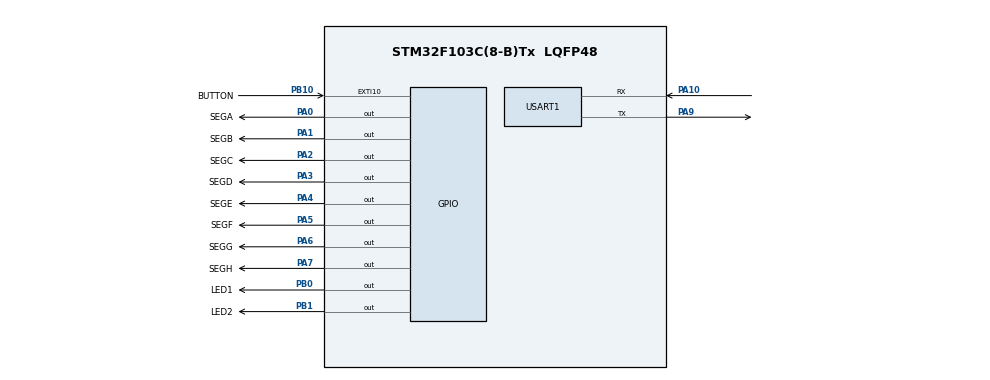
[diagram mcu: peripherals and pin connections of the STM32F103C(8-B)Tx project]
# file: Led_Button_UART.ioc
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Dma.Request0=USART1_RX
Dma.USART1_RX.0.Direction=DMA_PERIPH_TO_MEMORY
Dma.USART1_RX.0.Instance=DMA1_Channel5
Dma.USART1_RX.0.MemDataAlignment=DMA_MDATAALIGN_BYTE
Dma.USART1_RX.0.MemInc=DMA_MINC_ENABLE
Dma.USART1_RX.0.Mode=DMA_NORMAL
Dma.USART1_RX.0.PeriphDataAlignment=DMA_PDATAALIGN_BYTE
Dma.USART1_RX.0.PeriphInc=DMA_PINC_DISABLE
Dma.USART1_RX.0.Priority=DMA_PRIORITY_LOW
Mcu.Family=STM32F1
Mcu.Name=STM32F103C(8-B)Tx
Mcu.Package=LQFP48
NVIC.DMA1_Channel5_IRQn=true\:0\:0\:false\:false\:true\:false\:true\:true
NVIC.EXTI15_10_IRQn=true\:0\:0\:false\:false\:true\:true\:true\:true
NVIC.PriorityGroup=NVIC_PRIORITYGROUP_4
NVIC.USART1_IRQn=true\:0\:0\:false\:false\:true\:true\:true\:true
PA0-WKUP.GPIO_Label=SEGA
PA0-WKUP.PinState=GPIO_PIN_RESET
PA0-WKUP.Signal=GPIO_Output
PA1.GPIO_Label=SEGB
PA1.PinState=GPIO_PIN_RESET
PA1.Signal=GPIO_Output
PA10.Mode=Asynchronous
PA10.Signal=USART1_RX
PA13.Mode=Serial_Wire
PA13.Signal=SYS_JTMS-SWDIO
PA14.Mode=Serial_Wire
PA14.Signal=SYS_JTCK-SWCLK
PA2.GPIO_Label=SEGC
PA2.PinState=GPIO_PIN_RESET
PA2.Signal=GPIO_Output
PA3.GPIO_Label=SEGD
PA3.PinState=GPIO_PIN_RESET
PA3.Signal=GPIO_Output
PA4.GPIO_Label=SEGE
PA4.PinState=GPIO_PIN_RESET
PA4.Signal=GPIO_Output
PA5.GPIO_Label=SEGF
PA5.PinState=GPIO_PIN_RESET
PA5.Signal=GPIO_Output
PA6.GPIO_Label=SEGG
PA6.PinState=GPIO_PIN_RESET
PA6.Signal=GPIO_Output
PA7.GPIO_Label=SEGH
PA7.PinState=GPIO_PIN_RESET
PA7.Signal=GPIO_Output
PA9.Mode=Asynchronous
PA9.Signal=USART1_TX
PB0.GPIO_Label=LED1
PB0.PinState=GPIO_PIN_RESET
PB0.Signal=GPIO_Output
PB1.GPIO_Label=LED2
PB1.PinState=GPIO_PIN_RESET
PB1.Signal=GPIO_Output
PB10.GPIO_Label=BUTTON
PB10.GPIO_PuPd=GPIO_PULLDOWN
PB10.Signal=GPXTI10
PC14-OSC32_IN.Mode=LSE-External-Oscillator
PC14-OSC32_IN.Signal=RCC_OSC32_IN
PC15-OSC32_OUT.Mode=LSE-External-Oscillator
PC15-OSC32_OUT.Signal=RCC_OSC32_OUT
PD0-OSC_IN.Mode=HSE-External-Oscillator
PD0-OSC_IN.Signal=RCC_OSC_IN
PD1-OSC_OUT.Mode=HSE-External-Oscillator
PD1-OSC_OUT.Signal=RCC_OSC_OUT
ProjectManager.HeapSize=0x200
ProjectManager.StackSize=0x400
ProjectManager.TargetToolchain=MDK-ARM V5.32
RCC.APB1Freq_Value=8000000
RCC.APB2Freq_Value=8000000
USART1.VirtualMode=VM_ASYNC
board=custom

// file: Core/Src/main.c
#include "main.h"

// các thu vien bo sung
#include <string.h>
#include <stdio.h>
#include <stdlib.h>

// Bien toa cuc
UART_HandleTypeDef huart1;        // Cau hinh UART1
DMA_HandleTypeDef hdma_usart1_rx; // cau hinh DMA cho UART 1 RX

/* USER CODE BEGIN PV */
uint8_t RxBuff[8];							// Bo dem nhan du lieu (8 byte)
uint8_t TxBuff[8] = "START..."; // buffer truyen di
uint16_t rxLength = 0;					// Do dai du lieu nhan duoc
uint32_t count = 0;							// Bo dem

volatile uint8_t running = 1;		// Luu tru trang thai cua bo dem (1: chay, 0: dung )
volatile uint8_t counter = 0;		// Bo dem hien thi
uint8_t segment_map[] = {   		// Mang anh xa LED 7 doan
    0xC0, // 0
    0xF9, // 1
    0xA4, // 2
    0xB0, // 3
    0x99, // 4
    0x92, // 5
    0x82, // 6
    0xF8, // 7
    0x80, // 8
    0x90  // 9
};

/* USER CODE END PV */

void SystemClock_Config(void);
static void MX_GPIO_Init(void);
static void MX_DMA_Init(void);
static void MX_USART1_UART_Init(void);

void HAL_UART_RxCpltCallback(UART_HandleTypeDef *huart)
{
	// Kiem tra nhan du lieu tu UART1
  UNUSED(huart);
	if(huart->Instance == USART1)
	{
		// Lay so byte nhan duoc qua DMA.
		// Sao chép du lieu tu RxBuff sang TxBuff.
		// Phan hoi qua UART bang HAL_UART_Transmit.
		// Kiem tra neu chuoi nhan duoc là "Start" thì bat dem (running = 1) hoac "Stop" thì dung dem (running = 0).
		// Xóa bo dem RxBuff và kích hoat lai DMA de nhan du lieu moi.
		uint16_t receivedBytes = 8 - __HAL_DMA_GET_COUNTER(huart->hdmarx);

		for(int i = 0; i < receivedBytes; i++){
			TxBuff[i] = RxBuff[i];
		}

		HAL_UART_Transmit(&huart1, TxBuff, receivedBytes, HAL_MAX_DELAY);

		// Xu ly lenh "Start" va "stop"
		if (strncmp((char*)&TxBuff, "Start", 5) == 0)
		{
				running = 1; // Bat dau dem
		}
		else if (strncmp((char*)&TxBuff, "Stop", 4) == 0)
		{
				running = 0; // dung dem
		}

		memset(RxBuff, 0, 8); // Xóa bo dem nhan

		HAL_UART_Receive_DMA(&huart1, RxBuff, 8);	// Kich hoat lai nhan DMA
	}
}

// Callback khi nút nhan duoc nha
void HAL_GPIO_EXTI_Callback(uint16_t GPIO_Pin)
{
    if (GPIO_Pin == BUTTON_Pin)
    {
        counter = 1; // Dat lai bo dem
    }
}

// hien thi so len LED 7 doan
void display_number(uint8_t number)
{
    uint8_t tens = number / 10;		// Hang chuc
    uint8_t units = number % 10;	// Hang don vi

		// hien thi hang chuc
    HAL_GPIO_WritePin(LED1_GPIO_Port, LED1_Pin, GPIO_PIN_RESET);
    HAL_GPIO_WritePin(LED2_GPIO_Port, LED2_Pin, GPIO_PIN_SET);
    GPIOA->ODR = (GPIOA->ODR & 0xFF00) | segment_map[tens];
    HAL_Delay(2);

		// Hien thi hang don vi
		HAL_GPIO_WritePin(LED1_GPIO_Port, LED1_Pin, GPIO_PIN_SET);
    HAL_GPIO_WritePin(LED2_GPIO_Port, LED2_Pin, GPIO_PIN_RESET);
    GPIOA->ODR = (GPIOA->ODR & 0xFF00) | segment_map[units];
    HAL_Delay(2);
}
/* USER CODE END 0 */

int main(void){
  HAL_Init();
	// Clock he thong GBIO, DMA, UART
  SystemClock_Config();

  MX_GPIO_Init();
  MX_DMA_Init();
  MX_USART1_UART_Init();
  // Gui thong bao he thong qua UART va kich hoat du lieu DMA
	HAL_UART_Transmit(&huart1, TxBuff, sizeof(TxBuff),100);
	HAL_UART_Receive_DMA(&huart1, RxBuff, 8);

  while (1){

		for (int i = 0; i < 200; i++)
		{
				display_number(counter);
		}
		if (running)
		{

				counter++;
				if (counter > 99)
						counter = 0;
		}

  }
	return 0;

}

// Cau hinh clock
void SystemClock_Config(void)
{
  RCC_OscInitTypeDef RCC_OscInitStruct = {0};
  RCC_ClkInitTypeDef RCC_ClkInitStruct = {0};

	//cau hinh dao dong RCC theo cac tham so duoc chi dinh

  RCC_OscInitStruct.OscillatorType = RCC_OSCILLATORTYPE_HSI;
  RCC_OscInitStruct.HSIState = RCC_HSI_ON;
  RCC_OscInitStruct.HSICalibrationValue = RCC_HSICALIBRATION_DEFAULT;
  RCC_OscInitStruct.PLL.PLLState = RCC_PLL_NONE;
  if (HAL_RCC_OscConfig(&RCC_OscInitStruct) != HAL_OK)
  {
    Error_Handler();
  }
	// Khoi dong clock CPU, bus AHB va APB
  RCC_ClkInitStruct.ClockType = RCC_CLOCKTYPE_HCLK|RCC_CLOCKTYPE_SYSCLK
                              |RCC_CLOCKTYPE_PCLK1|RCC_CLOCKTYPE_PCLK2;
  RCC_ClkInitStruct.SYSCLKSource = RCC_SYSCLKSOURCE_HSI;
  RCC_ClkInitStruct.AHBCLKDivider = RCC_SYSCLK_DIV1;
  RCC_ClkInitStruct.APB1CLKDivider = RCC_HCLK_DIV1;
  RCC_ClkInitStruct.APB2CLKDivider = RCC_HCLK_DIV1;

  if (HAL_RCC_ClockConfig(&RCC_ClkInitStruct, FLASH_LATENCY_0) != HAL_OK)
  {
    Error_Handler();
  }
}

static void MX_USART1_UART_Init(void){
	// Cau hinh UART1
  huart1.Instance = USART1;
  huart1.Init.BaudRate = 115200;
  huart1.Init.WordLength = UART_WORDLENGTH_8B;
  huart1.Init.StopBits = UART_STOPBITS_1;
  huart1.Init.Parity = UART_PARITY_NONE;
  huart1.Init.Mode = UART_MODE_TX_RX;
  huart1.Init.HwFlowCtl = UART_HWCONTROL_NONE;
  huart1.Init.OverSampling = UART_OVERSAMPLING_16;
  if (HAL_UART_Init(&huart1) != HAL_OK)
  {
    Error_Handler();
  }
	__HAL_UART_ENABLE_IT(&huart1, UART_IT_IDLE);

}

// Cau hinh DMA
static void MX_DMA_Init(void)
{

  // bat dau
  __HAL_RCC_DMA1_CLK_ENABLE();

  HAL_NVIC_SetPriority(DMA1_Channel5_IRQn, 0, 0);
  HAL_NVIC_EnableIRQ(DMA1_Channel5_IRQn);

}

// Cau hinh GPIO
static void MX_GPIO_Init(void)
{
  GPIO_InitTypeDef GPIO_InitStruct = {0};

  __HAL_RCC_GPIOC_CLK_ENABLE();
  __HAL_RCC_GPIOD_CLK_ENABLE();
  __HAL_RCC_GPIOA_CLK_ENABLE();
  __HAL_RCC_GPIOB_CLK_ENABLE();

  HAL_GPIO_WritePin(GPIOA, SEGA_Pin|SEGB_Pin|SEGC_Pin|SEGD_Pin
                          |SEGE_Pin|SEGF_Pin|SEGG_Pin|SEGH_Pin, GPIO_PIN_RESET);

  HAL_GPIO_WritePin(GPIOB, LED1_Pin|LED2_Pin, GPIO_PIN_RESET);

  // Cau hinh den LED 7 doan
  GPIO_InitStruct.Pin = SEGA_Pin|SEGB_Pin|SEGC_Pin|SEGD_Pin
                          |SEGE_Pin|SEGF_Pin|SEGG_Pin|SEGH_Pin;
  GPIO_InitStruct.Mode = GPIO_MODE_OUTPUT_PP;
  GPIO_InitStruct.Pull = GPIO_NOPULL;
  GPIO_InitStruct.Speed = GPIO_SPEED_FREQ_LOW;
  HAL_GPIO_Init(GPIOA, &GPIO_InitStruct);

  // Cau hinh chan LED 1, LED 2
  GPIO_InitStruct.Pin = LED1_Pin|LED2_Pin;
  GPIO_InitStruct.Mode = GPIO_MODE_OUTPUT_PP;
  GPIO_InitStruct.Pull = GPIO_NOPULL;
  GPIO_InitStruct.Speed = GPIO_SPEED_FREQ_LOW;
  HAL_GPIO_Init(GPIOB, &GPIO_InitStruct);

  // Cau hinh nút bam
  GPIO_InitStruct.Pin = BUTTON_Pin;
  GPIO_InitStruct.Mode = GPIO_MODE_IT_RISING;
  GPIO_InitStruct.Pull = GPIO_PULLDOWN;
  HAL_GPIO_Init(BUTTON_GPIO_Port, &GPIO_InitStruct);

  // che do ngat ngoai
  HAL_NVIC_SetPriority(EXTI15_10_IRQn, 0, 0);
  HAL_NVIC_EnableIRQ(EXTI15_10_IRQn);

}

// Ham xu ly debug
void Error_Handler(void){
  __disable_irq();
  while (1)
  {
  }
}
